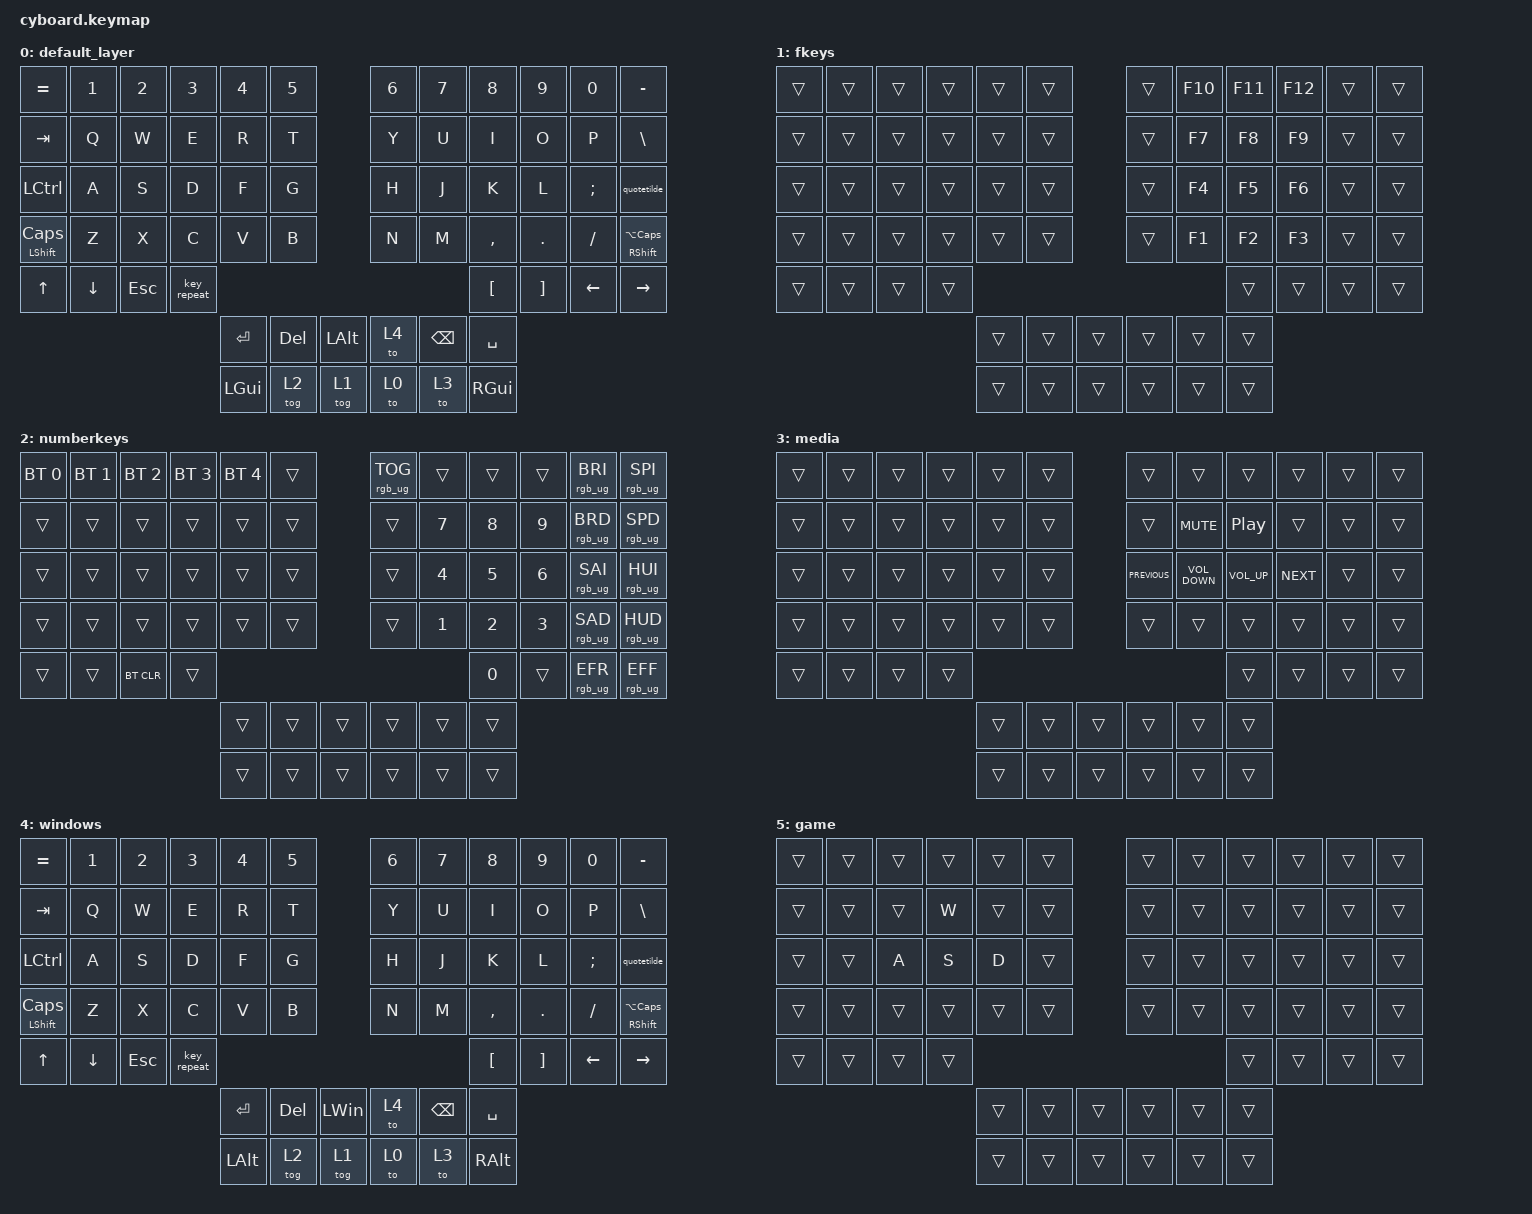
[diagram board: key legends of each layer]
#include <behaviors.dtsi>
#include <dt-bindings/zmk/bt.h>
#include <dt-bindings/zmk/keys.h>
#include <dt-bindings/zmk/rgb.h>

/ {
    chosen { zmk,matrix-transform = &dactyl_manuform_number_row; };

    behaviors {
        shiftcaps: shiftcaps {
            compatible = "zmk,behavior-tap-dance";
            label = "SHIFTCAPS";
            #binding-cells = <0>;
            bindings = <&kp RIGHT_SHIFT>, <&caps_word>;

            tapping-term-ms = <200>;
        };

        quotetilde: quotetilde {
            compatible = "zmk,behavior-tap-dance";
            label = "QUOTETILDE";
            #binding-cells = <0>;
            bindings = <&kp SQT>, <&kp GRAVE>;

            tapping-term-ms = <200>;
        };

        lshiftcaps: lshiftcaps {
            compatible = "zmk,behavior-tap-dance";
            label = "LSHIFTCAPS";
            #binding-cells = <0>;
            bindings = <&kp LEFT_SHIFT>, <&caps_word>;

            tapping-term-ms = <200>;
        };
    };

    keymap {
        compatible = "zmk,keymap";

        default_layer {
            bindings = <
&kp EQUAL            &kp N1          &kp N2      &kp N3       &kp N4        &kp N5                      &kp N6  &kp N7    &kp N8         &kp N9    &kp N0          &kp MINUS
&kp TAB              &kp Q           &kp W       &kp E        &kp R         &kp T                       &kp Y   &kp U     &kp I          &kp O     &kp P           &kp BSLH
&kp LCTRL            &kp A           &kp S       &kp D        &kp F         &kp G                       &kp H   &kp J     &kp K          &kp L     &kp SEMI        &quotetilde
&mt LSHIFT CAPSLOCK  &kp Z           &kp X       &kp C        &kp V         &kp B                       &kp N   &kp M     &kp COMMA      &kp DOT   &kp FSLH        &mt RSHFT LA(CAPSLOCK)
&kp UP_ARROW         &kp DOWN_ARROW  &kp ESCAPE  &key_repeat                                                              &kp LBKT       &kp RBKT  &kp LEFT_ARROW  &kp RIGHT_ARROW

                                                              &kp RET       &kp DELETE  &kp LEFT_ALT    &to 4   &kp BSPC  &kp SPACE
                                                              &kp LEFT_GUI  &tog 2      &tog 1          &to 0   &to 3     &kp RIGHT_GUI
            >;
        };

        fkeys {
            bindings = <
&trans  &trans  &trans  &trans  &trans  &trans            &trans  &kp F10  &kp F11  &kp F12  &trans  &trans
&trans  &trans  &trans  &trans  &trans  &trans            &trans  &kp F7   &kp F8   &kp F9   &trans  &trans
&trans  &trans  &trans  &trans  &trans  &trans            &trans  &kp F4   &kp F5   &kp F6   &trans  &trans
&trans  &trans  &trans  &trans  &trans  &trans            &trans  &kp F1   &kp F2   &kp F3   &trans  &trans
&trans  &trans  &trans  &trans                                             &trans   &trans   &trans  &trans

                                &trans  &trans  &trans    &trans  &trans   &trans
                                &trans  &trans  &trans    &trans  &trans   &trans
            >;
        };

        numberkeys {
            bindings = <
&bt BT_SEL 0  &bt BT_SEL 1  &bt BT_SEL 2  &bt BT_SEL 3  &bt BT_SEL 4  &trans            &rgb_ug RGB_TOG  &trans        &trans        &trans        &rgb_ug RGB_BRI  &rgb_ug RGB_SPI
&trans        &trans        &trans        &trans        &trans        &trans            &trans           &kp N7        &kp N8        &kp N9        &rgb_ug RGB_BRD  &rgb_ug RGB_SPD
&trans        &trans        &trans        &trans        &trans        &trans            &trans           &kp NUMBER_4  &kp N5        &kp NUMBER_6  &rgb_ug RGB_SAI  &rgb_ug RGB_HUI
&trans        &trans        &trans        &trans        &trans        &trans            &trans           &kp NUMBER_1  &kp NUMBER_2  &kp NUMBER_3  &rgb_ug RGB_SAD  &rgb_ug RGB_HUD
&trans        &trans        &bt BT_CLR    &trans                                                                       &kp N0        &trans        &rgb_ug RGB_EFR  &rgb_ug RGB_EFF

                                                        &trans        &trans  &trans    &trans           &trans        &trans
                                                        &trans        &trans  &trans    &trans           &trans        &trans
            >;
        };

        media {
            bindings = <
&trans  &trans  &trans  &trans  &trans  &trans            &trans          &trans             &trans            &trans      &trans  &trans
&trans  &trans  &trans  &trans  &trans  &trans            &trans          &kp C_MUTE         &kp C_PLAY_PAUSE  &trans      &trans  &trans
&trans  &trans  &trans  &trans  &trans  &trans            &kp K_PREVIOUS  &kp C_VOLUME_DOWN  &kp C_VOLUME_UP   &kp K_NEXT  &trans  &trans
&trans  &trans  &trans  &trans  &trans  &trans            &trans          &trans             &trans            &trans      &trans  &trans
&trans  &trans  &trans  &trans                                                               &trans            &trans      &trans  &trans

                                &trans  &trans  &trans    &trans          &trans             &trans
                                &trans  &trans  &trans    &trans          &trans             &trans
            >;
        };

        windows {
            bindings = <
&kp EQUAL            &kp N1          &kp N2      &kp N3       &kp N4        &kp N5                  &kp N6  &kp N7    &kp N8         &kp N9    &kp N0          &kp MINUS
&kp TAB              &kp Q           &kp W       &kp E        &kp R         &kp T                   &kp Y   &kp U     &kp I          &kp O     &kp P           &kp BSLH
&kp LCTRL            &kp A           &kp S       &kp D        &kp F         &kp G                   &kp H   &kp J     &kp K          &kp L     &kp SEMI        &quotetilde
&mt LSHIFT CAPSLOCK  &kp Z           &kp X       &kp C        &kp V         &kp B                   &kp N   &kp M     &kp COMMA      &kp DOT   &kp FSLH        &mt RSHFT LA(CAPSLOCK)
&kp UP_ARROW         &kp DOWN_ARROW  &kp ESCAPE  &key_repeat                                                          &kp LBKT       &kp RBKT  &kp LEFT_ARROW  &kp RIGHT_ARROW

                                                              &kp RET       &kp DELETE  &kp LWIN    &to 4   &kp BSPC  &kp SPACE
                                                              &kp LEFT_ALT  &tog 2      &tog 1      &to 0   &to 3     &kp RIGHT_ALT
            >;
        };

        game {
            bindings = <
&trans  &trans  &trans  &trans  &trans  &trans            &trans  &trans  &trans  &trans  &trans  &trans
&trans  &trans  &trans  &kp W   &trans  &trans            &trans  &trans  &trans  &trans  &trans  &trans
&trans  &trans  &kp A   &kp S   &kp D   &trans            &trans  &trans  &trans  &trans  &trans  &trans
&trans  &trans  &trans  &trans  &trans  &trans            &trans  &trans  &trans  &trans  &trans  &trans
&trans  &trans  &trans  &trans                                            &trans  &trans  &trans  &trans

                                &trans  &trans  &trans    &trans  &trans  &trans
                                &trans  &trans  &trans    &trans  &trans  &trans
            >;
        };
    };
};
